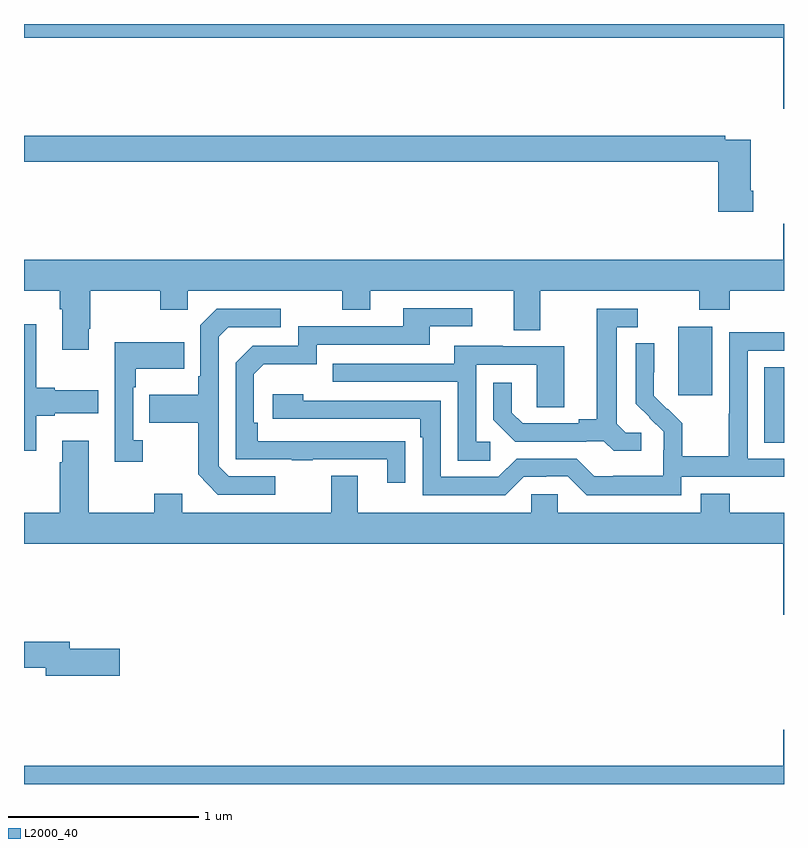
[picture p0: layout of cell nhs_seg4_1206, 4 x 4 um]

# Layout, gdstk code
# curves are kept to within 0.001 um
import gdstk
lib = gdstk.Library(unit=1e-6, precision=1e-09)
def R(c, l, rs):  # rectangles x0, y0, x1, y1
    for r in rs: c.add(gdstk.rectangle(r[:2], r[2:], *l))
def P(c, l, *ps):  # polygons
    for p in ps: c.add(gdstk.Polygon(p, *l))
L2000_40 = (2000, 40)

nhs_seg4_1206 = lib.new_cell('nhs_seg4_1206')
R(nhs_seg4_1206, L2000_40, [(176.897,786.697,177,787.094), (176.444,786.945,176.623,787.306)])
P(nhs_seg4_1206, L2000_40, [(177,788.9),(173,788.9),(173,788.828),(176.996,788.828),(176.996,788.454),(177,788.454)],
  [(176.837,788.023),(176.824,788.023),(176.824,788.292),(176.69,788.292),(176.69,788.312),(173,788.312),(173,788.176),(176.654,788.176),(176.654,787.911),(176.837,787.911)],
  [(173.341,787.297),(173.349,787.297),(173.349,787.496),(173.716,787.496),(173.716,787.397),(173.862,787.397),(173.862,787.496),(174.676,787.496),(174.676,787.397),(174.823,787.397),(174.823,787.496),(175.577,787.496),(175.577,787.288),(175.717,787.288),(175.717,787.496),(176.554,787.496),(176.554,787.397),(176.714,787.397),(176.714,787.496),(177,787.496),(177,787.849),(176.996,787.849),(176.996,787.66),(173,787.66),(173,787.496),(173.189,787.496),(173.189,787.4),(173.201,787.4),(173.201,787.185),(173.341,787.185)],
  [(175.007,786.704),(174.23,786.705),(174.23,786.802),(174.21,786.802),(174.21,787.056),(174.263,787.109),(174.54,787.109),(174.54,787.212),(175.135,787.212),(175.135,787.308),(175.36,787.308),(175.36,787.404),(174.995,787.404),(174.995,787.308),(174.444,787.308),(174.444,787.206),(174.204,787.206),(174.114,787.116),(174.114,786.609),(174.409,786.609),(174.409,786.604),(174.521,786.604),(174.521,786.609),(174.911,786.609),(174.911,786.486),(175.007,786.486)],
  [(174.322,786.519),(174.078,786.519),(174.024,786.573),(174.024,787.254),(174.075,787.305),(174.352,787.305),(174.352,787.401),(174.015,787.401),(173.928,787.314),(173.928,787.045),(173.916,787.045),(173.916,786.949),(173.659,786.949),(173.659,786.802),(173.916,786.802),(173.916,786.529),(174.021,786.423),(174.322,786.423)],
  [(176.248,786.75),(176.166,786.75),(176.119,786.797),(176.119,787.305),(176.23,787.305),(176.23,787.401),(176.015,787.401),(176.015,786.821),(175.919,786.821),(175.919,786.798),(175.624,786.798),(175.567,786.855),(175.567,787.012),(175.47,787.012),(175.47,786.818),(175.586,786.702),(175.958,786.702),(175.958,786.705),(176.052,786.705),(176.104,786.653),(176.248,786.653)],
  [(173.065,786.839),(173.161,786.839),(173.161,786.851),(173.392,786.851),(173.392,786.973),(173.161,786.973),(173.161,786.986),(173.065,786.986),(173.065,787.321),(173,787.321),(173,786.654),(173.065,786.654)],
  [(176.46,786.516),(177,786.516),(177,786.612),(176.808,786.612),(176.808,787.179),(177,787.179),(177,787.278),(176.712,787.278),(176.712,786.848),(176.71,786.848),(176.71,786.625),(176.465,786.625),(176.465,786.799),(176.388,786.876),(176.385,786.873),(176.315,786.944),(176.316,787.22),(176.22,787.22),(176.22,786.902),(176.366,786.754),(176.366,786.657),(176.364,786.657),(176.364,786.523),(176.101,786.523),(176.101,786.519),(176.001,786.519),(175.908,786.612),(175.593,786.612),(175.497,786.516),(175.194,786.516),(175.194,786.918),(174.47,786.918),(174.47,786.952),(174.309,786.952),(174.309,786.822),(175.085,786.822),(175.085,786.725),(175.098,786.725),(175.098,786.42),(175.533,786.42),(175.629,786.516),(175.748,786.516),(175.748,786.519),(175.863,786.519),(175.963,786.419),(176.46,786.419)],
  [(173.626,786.71),(173.574,786.71),(173.574,786.989),(173.587,786.989),(173.587,787.085),(173.843,787.085),(173.843,787.225),(173.478,787.225),(173.478,786.597),(173.626,786.597)],
  [(175.453,786.702),(175.38,786.702),(175.38,787.107),(175.698,787.107),(175.698,786.883),(175.843,786.883),(175.843,787.203),(175.519,787.203),(175.519,787.207),(175.265,787.207),(175.265,787.113),(174.625,787.113),(174.625,787.017),(175.284,787.017),(175.284,786.601),(175.453,786.601)],
  [(177,786.328),(176.714,786.328),(176.714,786.427),(176.561,786.427),(176.561,786.328),(175.809,786.328),(175.809,786.426),(175.671,786.426),(175.671,786.328),(174.757,786.328),(174.757,786.523),(174.617,786.523),(174.617,786.328),(173.833,786.328),(173.833,786.427),(173.686,786.427),(173.686,786.328),(173.341,786.328),(173.341,786.706),(173.201,786.706),(173.201,786.593),(173.189,786.593),(173.189,786.328),(173,786.328),(173,786.164),(176.996,786.164),(176.996,785.79),(177,785.79)],
  [(173.503,785.612),(173.242,785.612),(173.242,785.648),(173,785.648),(173,785.512),(173.114,785.512),(173.114,785.47),(173.503,785.47)],
  [(177,785.185),(176.996,785.185),(176.996,784.996),(173,784.996),(173,784.9),(177,784.9)])

lib.write_gds('nhs_seg4_1206.gds')
